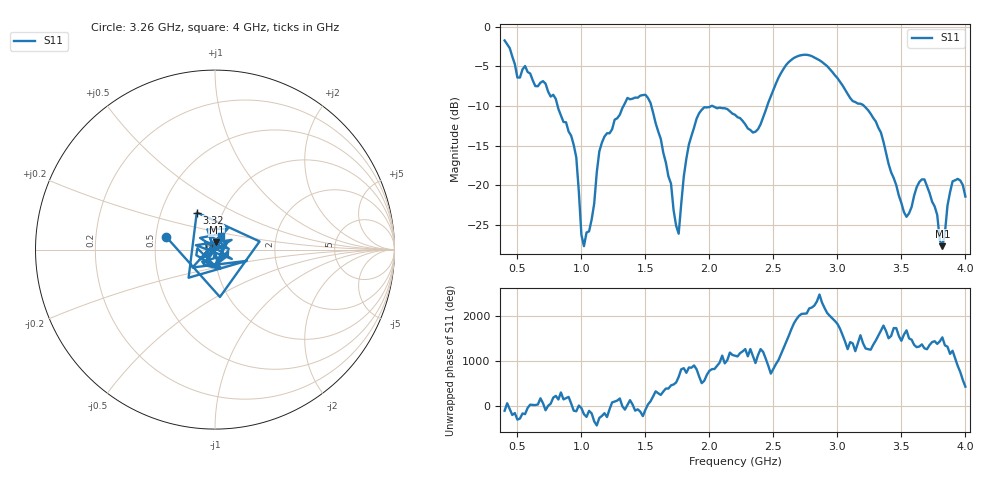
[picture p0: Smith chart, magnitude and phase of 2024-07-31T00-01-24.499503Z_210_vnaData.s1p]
!Created with skrf (http://scikit-rf.org).
# Hz S RI R 50.0
!freq ReS11 ImS11
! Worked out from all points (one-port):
!   181 points, 400 MHz to 4 GHz, reference 50 ohm
!   lowest |S11| = -27.7 dB at 3.82 GHz (marker M1), VSWR 1.09, Z = 50.6 + j4.1 ohm
!   |S11| at or under -10 dB: 814.1 MHz to 1.329 GHz (514.7 MHz wide, 48 % of centre); 1.546 GHz to 2.017 GHz (470.2 MHz wide, 26.4 % of centre); 3.209 GHz to end of sweep (the widest 3 of 4)
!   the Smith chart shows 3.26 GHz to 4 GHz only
!   S11 on the Smith chart (normalised r, x): 3.26 GHz: 0.57, +0.09; 3.32 GHz: 0.75, +0.33; 4 GHz: 1.06, +0.16
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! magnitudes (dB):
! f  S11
! 400 MHz  -1.7
! 500 MHz  -6.4
! 700 MHz  -6.9
! 860 MHz  -12.0
! 960 MHz  -16.5
! 1 GHz  -26.3
! 1.02 GHz  -27.7
! 1.08 GHz  -24.3
! 1.14 GHz  -15.7
! 1.3 GHz  -11.1
! 1.36 GHz  -9.0
! 1.54 GHz  -9.6
! 1.7 GHz  -19.8
! 1.76 GHz  -26.1
! 1.82 GHz  -16.6
! 1.92 GHz  -10.9
! 2.2 GHz  -11.1
! 2.36 GHz  -13.2
! 2.66 GHz  -3.9
! 2.88 GHz  -4.4
! 3.1 GHz  -9.0
! 3.26 GHz  -11.0
! 3.32 GHz  -12.8
! 3.56 GHz  -23.6
! 3.68 GHz  -19.3
! 3.82 GHz  -27.7
! 3.9 GHz  -19.5
! 4 GHz  -21.4
